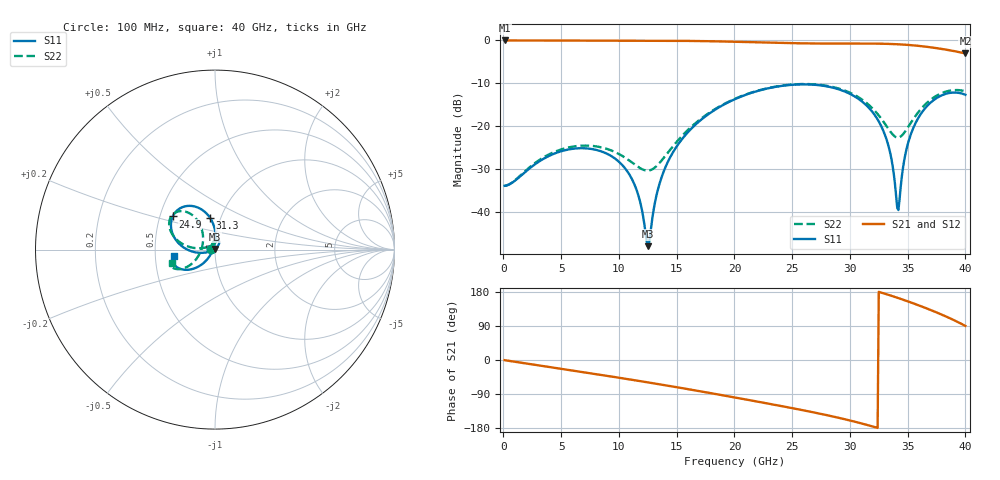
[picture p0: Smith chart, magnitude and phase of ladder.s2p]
! C_s8_mixed: via ladder as kisi uses it (kisi_si::via_pbm, graded grid, junction model), ports at the via
# Hz S RI R 50
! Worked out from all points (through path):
!   400 points, 100 MHz to 40 GHz, reference 50 ohm
!   highest |S21| = -0.18 dB at 100 MHz (marker M1); lowest = -3.2 dB at 40 GHz (marker M2)
!   group delay of S21, straight-line fit = 17.1 ps
!   lowest |S11| = -47.9 dB at 12.5 GHz (marker M3), VSWR 1.01, Z = 49.8 + j0.349 ohm
!   |S11| at or under -10 dB: start of sweep to end of sweep
!   |S22| runs from -33.9 to -10.3 dB; largest |S21 - S12| = 0
!   S11 on the Smith chart (normalised r, x): 100 MHz: 0.96, +0.00; 24.9 GHz: 0.58, +0.24; 31.3 GHz: 0.89, +0.33; 40 GHz: 0.63, -0.05
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1e8  -0.0202 0.00135  0.9798 -0.00793  0.9798 -0.00793  -0.0202 0.00135
3.8e9  -0.00489 0.0437  0.9323 -0.2961  0.9323 -0.2961  -0.00877 0.0449
6.8e9  0.0165 0.0527  0.8316 -0.5113  0.8316 -0.5113  0.00645 0.0588
9.1e9  0.0238 0.0401  0.7196 -0.6581  0.7196 -0.6581  0.00998 0.0525
1.08e10  0.0175 0.0229  0.6183 -0.7535  0.6183 -0.7535  0.0026 0.0405
1.18e10  0.00771 0.0114  0.5514 -0.8033  0.5514 -0.8033  -0.00689 0.0319
1.25e10  -0.00202 0.0035  0.5014 -0.8349  0.5014 -0.8349  -0.016 0.0258
1.34e10  -0.018 -0.00569  0.4336 -0.8712  0.4336 -0.8712  -0.0307 0.0185
1.44e10  -0.0402 -0.0136  0.3537 -0.9051  0.3537 -0.9051  -0.0509 0.0119
1.58e10  -0.0776 -0.0183  0.235 -0.9395  0.235 -0.9395  -0.085 0.00731
2.01e10  -0.203 0.0358  -0.1518 -0.9341  -0.1518 -0.9341  -0.2028 0.0462
2.49e10  -0.2354 0.1849  -0.5412 -0.7342  -0.5412 -0.7342  -0.2531 0.1639
2.67e10  -0.1969 0.2286  -0.6638 -0.6141  -0.6638 -0.6141  -0.2299 0.2003
3.13e10  -0.0281 0.1777  -0.888 -0.1602  -0.888 -0.1602  -0.0987 0.1639
3.26e10  9.09e-05 0.1066  -0.899 0.017  -0.899 0.017  -0.0716 0.1053
3.34e10  0.00207 0.0545  -0.8835 0.1341  -0.8835 0.1341  -0.0663 0.0609
3.42e10  -0.0105 0.00125  -0.8473 0.2531  -0.8473 0.2531  -0.0722 0.0139
3.45e10  -0.0191 -0.0179  -0.828 0.2972  -0.828 0.2972  -0.0775 -0.00345
3.48e10  -0.0298 -0.0361  -0.8053 0.3407  -0.8053 0.3407  -0.0845 -0.0203
3.59e10  -0.0837 -0.0894  -0.6947 0.4886  -0.6947 0.4886  -0.1229 -0.0731
3.78e10  -0.1939 -0.1071  -0.4143 0.6693  -0.4143 0.6693  -0.2087 -0.109
4e10  -0.2273 -0.0345  0.0013 0.6923  0.0013 0.6923  -0.2418 -0.0723
